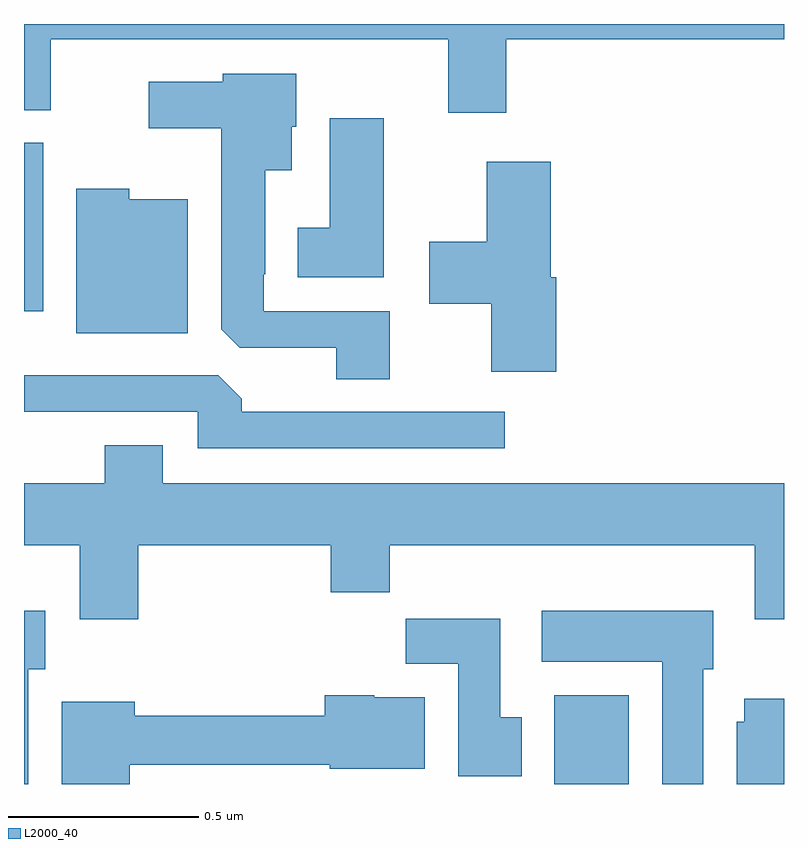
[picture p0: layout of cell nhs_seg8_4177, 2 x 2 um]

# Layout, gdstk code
import gdstk
lib = gdstk.Library(unit=1e-6, precision=1e-09)
def R(c, l, rs):  # rectangles x0, y0, x1, y1
    for r in rs: c.add(gdstk.rectangle(r[:2], r[2:], *l))
def P(c, l, *ps):  # polygons
    for p in ps: c.add(gdstk.Polygon(p, *l))
L2000_40 = (2000, 40)

nhs_seg8_4177 = lib.new_cell('nhs_seg8_4177')
R(nhs_seg8_4177, L2000_40, [(168.395,1087.9,168.592,1088.134), (167,1089.144,167.05,1089.588)])
P(nhs_seg8_4177, L2000_40, [(168.269,1089.86),(169,1089.86),(169,1089.9),(167,1089.9),(167,1089.673),(167.071,1089.673),(167.071,1089.86),(168.116,1089.86),(168.116,1089.666),(168.269,1089.666)],
  [(167.962,1089.144),(167.631,1089.144),(167.631,1089.241),(167.635,1089.241),(167.635,1089.515),(167.704,1089.515),(167.704,1089.63),(167.716,1089.63),(167.716,1089.769),(167.523,1089.769),(167.523,1089.748),(167.328,1089.748),(167.328,1089.626),(167.519,1089.626),(167.519,1089.097),(167.568,1089.048),(167.822,1089.048),(167.822,1088.965),(167.962,1088.965)],
  [(167.947,1089.652),(167.804,1089.652),(167.804,1089.364),(167.72,1089.364),(167.72,1089.233),(167.947,1089.233)],
  [(168.401,1089.233),(168.386,1089.233),(168.386,1089.538),(168.218,1089.538),(168.218,1089.327),(168.066,1089.327),(168.066,1089.164),(168.23,1089.164),(168.23,1088.985),(168.401,1088.985)],
  [(167.431,1089.439),(167.277,1089.439),(167.277,1089.466),(167.138,1089.466),(167.138,1089.086),(167.431,1089.086)],
  [(168.265,1088.88),(167.573,1088.88),(167.573,1088.914),(167.511,1088.976),(167,1088.976),(167,1088.88),(167.457,1088.88),(167.457,1088.784),(168.265,1088.784)],
  [(167.3,1088.528),(167.807,1088.528),(167.807,1088.404),(167.963,1088.404),(167.963,1088.528),(168.923,1088.528),(168.923,1088.334),(169,1088.334),(169,1088.692),(167.365,1088.692),(167.365,1088.791),(167.213,1088.791),(167.213,1088.692),(167,1088.692),(167,1088.528),(167.147,1088.528),(167.147,1088.334),(167.3,1088.334)],
  [(167.011,1088.202),(167.056,1088.202),(167.056,1088.356),(167,1088.356),(167,1087.9),(167.011,1087.9)],
  [(168.787,1088.202),(168.814,1088.202),(168.814,1088.356),(168.363,1088.356),(168.363,1088.222),(168.68,1088.222),(168.68,1087.9),(168.787,1087.9)],
  [(168.31,1088.076),(168.253,1088.076),(168.253,1088.335),(168.004,1088.335),(168.004,1088.216),(168.143,1088.216),(168.143,1087.92),(168.31,1087.92)],
  [(167.278,1087.951),(167.804,1087.951),(167.804,1087.94),(168.055,1087.94),(168.055,1088.128),(167.922,1088.128),(167.922,1088.134),(167.792,1088.134),(167.792,1088.08),(167.291,1088.08),(167.291,1088.116),(167.099,1088.116),(167.099,1087.9),(167.278,1087.9)],
  [(169,1088.125),(168.896,1088.125),(168.896,1088.064),(168.875,1088.064),(168.875,1087.9),(169,1087.9)])

lib.write_gds('nhs_seg8_4177.gds')
